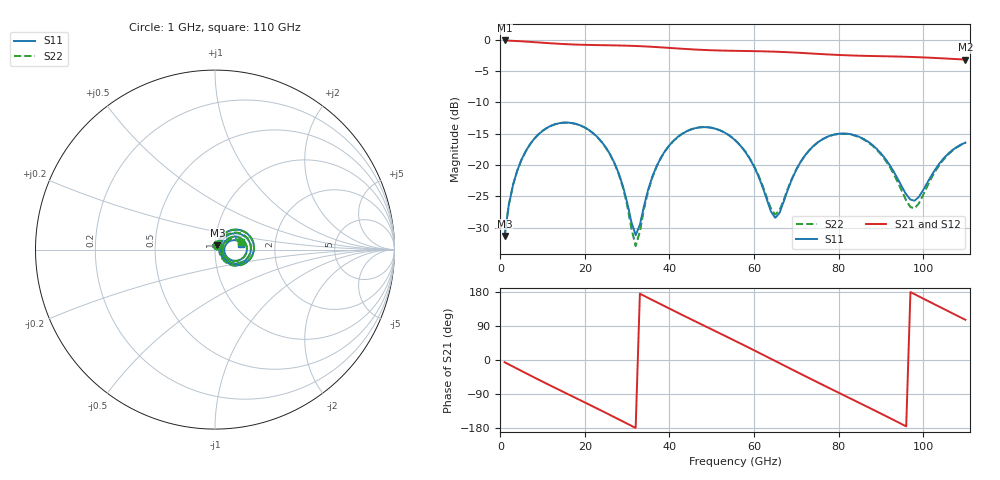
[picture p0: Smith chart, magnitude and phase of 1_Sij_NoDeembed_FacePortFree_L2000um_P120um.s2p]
! Touchstone file exported from HFSS 2024.2.0
!  File:  C:/Users/vaintrug/Documents/Ansoft_Workspace/Comparaison_Calculs_HFSS/1_VarPort.aedt
!  Generated:  03:22:18 PM Jan 21, 2025
!  Design:  1_NoDeembed_FacePortFree
!  Project:  1_VarPort
!  Setup:  Setup1
!  Solution:  Sweep
! Variables:
!  $Lenght = 2000um
!  $PortSize = 120um
!  Gap = 30um
!  Th = 2um
!  X_centralStrip = 20um
!  X_masse = 200um
!  Y_Sub = 2mm
!  Z_Box = 400um
!  Z_Sub = 200um
# GHz S MA R 50.000000
! Terminal data exported
! Port[1] = 1
! Port[2] = 2
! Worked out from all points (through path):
!   110 points, 1 GHz to 110 GHz, reference 50 ohm
!   highest |S21| = -0.13 dB at 1 GHz (marker M1); lowest = -3.2 dB at 110 GHz (marker M2)
!   group delay of S21, straight-line fit = 15.5 ps
!   lowest |S11| = -31.3 dB at 1 GHz (marker M3), VSWR 1.06, Z = 51.3 + j2.43 ohm
!   |S11| at or under -10 dB: start of sweep to end of sweep
!   |S22| runs from -33.0 to -13.2 dB; largest |S21 - S12| = 1.8e-15
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1  0.02716 60.7  0.9854 -5.9  0.9854 -5.9  0.02716 60.7
! Gamma 5.81213119404755 50.0226184253021 5.83164838984437 50.1289437625444
! Port Impedance 50 0 50 0
3  0.0695 65.6  0.9783 -17.4  0.9783 -17.4  0.0695 65.5
7  0.146 48.8  0.9604 -40.3  0.9604 -40.3  0.146 48.6
13  0.2116 18.1  0.9306 -73.8  0.9306 -73.8  0.2115 17.7
20  0.1988 -16.9  0.9092 -112.2  0.9092 -112.2  0.1984 -17.6
27  0.1035 -46.0  0.9 -151.1  0.9 -151.1  0.1023 -48.3
29  0.06758 -48.1  0.8968 -162.3  0.8968 -162.3  0.06569 -51.6
32  0.0275 -0.7  0.89 -179.3  0.89 -179.3  0.02248 -0.7
35  0.06434 50.9  0.8802 163.6  0.8802 163.6  0.06259 55.5
38  0.1148 46.7  0.8679 146.7  0.8679 146.7  0.114 49.5
43  0.1773 26.5  0.846 119.0  0.846 119.0  0.1772 28.3
47  0.1992 8.4  0.8311 97.1  0.8311 97.1  0.1993 9.9
51  0.1939 -9.7  0.8208 75.3  0.8208 75.3  0.1943 -8.3
56  0.152 -30.6  0.8137 47.9  0.8137 47.9  0.1527 -29.1
60  0.0971 -41.9  0.8097 25.6  0.8097 25.6  0.0983 -40.2
65  0.03782 -2.5  0.8016 -2.5  0.8016 -2.5  0.0402 -2.5
74  0.1411 30.2  0.7738 -53.1  0.7738 -53.1  0.141 29.5
83  0.1755 -5.8  0.748 -102.7  0.748 -102.7  0.1746 -6.7
92  0.1009 -33.3  0.7357 -152.6  0.7357 -152.6  0.09775 -35.7
98  0.05193 2.5  0.7262 173.6  0.7262 173.6  0.04507 4.6
104  0.1042 29.1  0.7109 139.7  0.7109 139.7  0.1016 33.5
110  0.1507 12.4  0.6936 106.1  0.6936 106.1  0.1498 15.7
